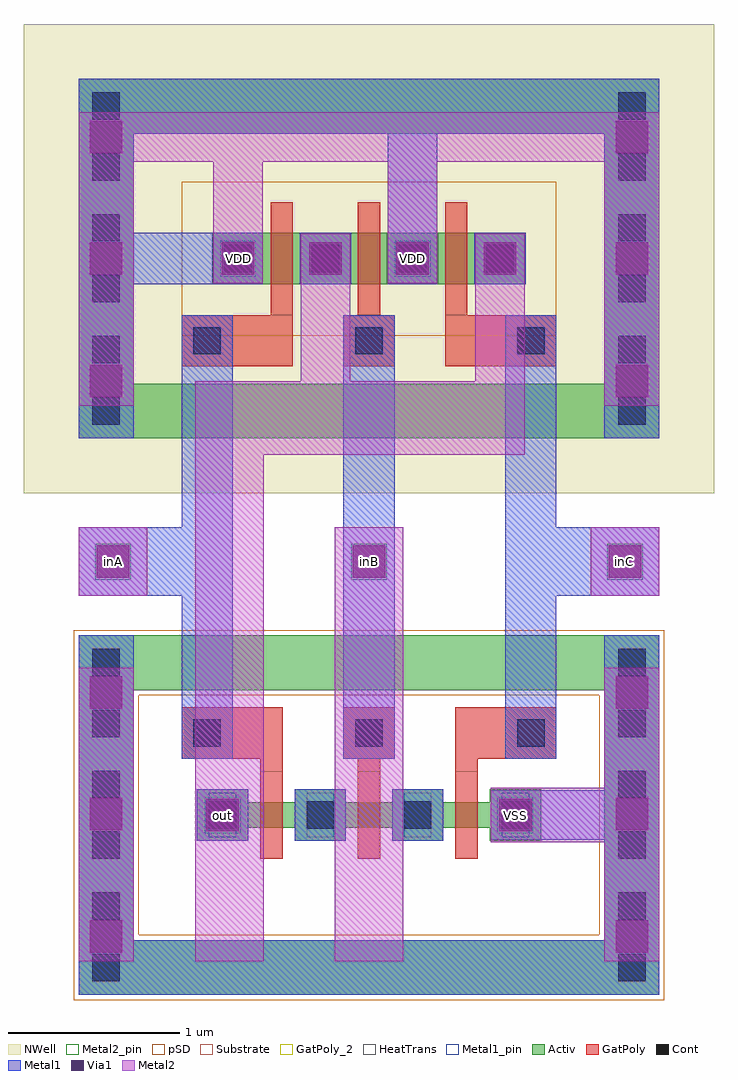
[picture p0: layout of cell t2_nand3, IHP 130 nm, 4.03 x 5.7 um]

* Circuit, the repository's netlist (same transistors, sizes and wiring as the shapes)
** sch_path: /foss/designs/PROJECTS/cmos-pll-ihp-sg13g2/Team 2 Design/design_data/xschem/t2_nand3.sch
.subckt t2_nand3 VDD VSS inA inB inC out
*.PININFO VSS:B inA:I inC:I out:O VDD:B inB:I
M1 out inB VDD VDD sg13_lv_pmos w=0.3u l=0.13u ng=1 m=1
M2 out inC VDD VDD sg13_lv_pmos w=0.3u l=0.13u ng=1 m=1
M3 out inC net1 VSS sg13_lv_nmos w=0.15u l=0.13u ng=1 m=1
M4 net1 inB net2 VSS sg13_lv_nmos w=0.15u l=0.13u ng=1 m=1
M5 net2 inA VSS VSS sg13_lv_nmos w=0.15u l=0.13u ng=1 m=1
M0 out inA VDD VDD sg13_lv_pmos w=0.3u l=0.13u ng=1 m=1
.ends

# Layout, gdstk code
import gdstk
lib = gdstk.Library(unit=1e-6, precision=1e-09)
def R(c, l, rs):  # rectangles x0, y0, x1, y1
    for r in rs: c.add(gdstk.rectangle(r[:2], r[2:], *l))
def A(c, l, x, y, w, h, nx, ny, dx, dy):  # array of equal rectangles
    R(c, l, [(x+i*dx, y+j*dy, x+i*dx+w, y+j*dy+h) for i in range(nx) for j in range(ny)])
Activ = (1, 0)
GatPoly = (5, 0)
GatPoly_2 = (5, 2)
Cont = (6, 0)
Metal1 = (8, 0)
Metal1_pin = (8, 2)
Metal2 = (10, 0)
Metal2_pin = (10, 2)
pSD = (14, 0)
Via1 = (19, 0)
NWell = (31, 0)
Substrate = (40, 0)
HeatTrans = (51, 0)

pmos_1 = lib.new_cell('pmos$1')
R(pmos_1, Activ, [(0,0,0.3,0.3), (0,0,0.81,0.3), (0.51,0,0.81,0.3)])
R(pmos_1, GatPoly, [(0.34,-0.18,0.47,0.48), (0.34,-0.18,0.47,0.48)])
R(pmos_1, Cont, [(0.07,0.07,0.23,0.23), (0.58,0.07,0.74,0.23)])
R(pmos_1, Metal1, [(0.07,0,0.23,0.3), (0.07,0,0.23,0.3), (0.58,0,0.74,0.3), (0.58,0,0.74,0.3)])
R(pmos_1, pSD, [(-0.18,-0.3,0.99,0.6)])
R(pmos_1, NWell, [(-0.31,-0.31,1.12,0.61)])
R(pmos_1, Substrate, [(0.51,0,0.81,0.3)])
R(pmos_1, HeatTrans, [(0.34,-0.18,0.47,0.48)])
pmos_1.add(gdstk.Label('pmos', (0.405,0.15), layer=63, texttype=0))
pmos_1.add(gdstk.Label('pmos', (0.405,0.15), layer=51, texttype=0))

nmos = lib.new_cell('nmos')
R(nmos, Activ, [(0,0,0.3,0.3), (0.57,0,0.87,0.3), (0,0.075,0.87,0.225)])
R(nmos, GatPoly, [(0.37,-0.105,0.5,0.405)])
R(nmos, GatPoly_2, [(0.37,-0.105,0.5,0.405)])
R(nmos, Cont, [(0.07,0.07,0.23,0.23), (0.64,0.07,0.8,0.23)])
R(nmos, Metal1, [(0.07,0.02,0.23,0.28), (0.64,0.02,0.8,0.28)])
R(nmos, Metal1_pin, [(0.07,0.02,0.23,0.28), (0.64,0.02,0.8,0.28)])
R(nmos, HeatTrans, [(0.37,-0.105,0.5,0.405)])
nmos.add(gdstk.Label('nmos', (0.435,0.15), layer=63, texttype=0))
nmos.add(gdstk.Label('nmos', (0.435,0.15), layer=51, texttype=0))

t2_nand3 = lib.new_cell('t2_nand3')
R(t2_nand3, Activ, [(-6.73,-2.335,-6.41,-0.555), (-6.41,-2.335,-3.34,-2.015), (-3.66,-2.015,-3.34,-0.235), (-6.73,-0.555,-3.66,-0.235), (-6.73,0.915,-3.66,1.235), (-3.66,0.915,-3.34,2.695), (-6.73,1.235,-6.41,3.015), (-6.41,2.695,-3.34,3.015)])
A(t2_nand3, GatPoly, -5.67, -1.03, 0.13, 0.075, 3, 1, 0.57, 0)
R(t2_nand3, GatPoly, [(-6.13,-0.955,-5.54,-0.655), (-5.185,-0.955,-4.885,-0.655), (-4.53,-0.955,-3.94,-0.655), (-6.13,1.335,-5.48,1.635), (-5.185,1.335,-4.885,1.635), (-4.59,1.335,-3.94,1.635)])
A(t2_nand3, Cont, -6.65, -1.895, 0.16, 0.16, 1, 5, 0, 0.355)
A(t2_nand3, Cont, -3.58, -1.895, 0.16, 0.16, 1, 5, 0, 0.355)
A(t2_nand3, Cont, -6.06, -0.885, 0.16, 0.16, 3, 2, 0.945, 2.29)
A(t2_nand3, Cont, -6.65, 1.355, 0.16, 0.16, 1, 5, 0, 0.355)
A(t2_nand3, Cont, -3.58, 1.355, 0.16, 0.16, 1, 5, 0, 0.355)
R(t2_nand3, Cont, [(-6.65,-2.255,-6.49,-2.095), (-3.58,-2.255,-3.42,-2.095), (-6.65,0.995,-6.49,1.155), (-3.58,0.995,-3.42,1.155)])
A(t2_nand3, Metal1, -6.04, -1.435, 0.3, 0.3, 3, 1, 0.57, 0)
A(t2_nand3, Metal1, -6.13, -0.955, 0.3, 2.59, 3, 1, 0.945, 0)
R(t2_nand3, Metal1, [(-6.73,-2.335,-6.41,-0.235), (-6.41,-2.335,-3.66,-2.015), (-3.66,-2.335,-3.34,-0.235), (-4.325,-1.43,-3.66,-1.14), (-6.73,-0.005,-6.13,0.395), (-3.94,-0.005,-3.34,0.395), (-6.73,0.915,-6.41,3.015), (-3.66,0.915,-3.34,3.015), (-6.41,1.815,-5.655,2.115), (-5.44,1.815,-5.14,2.115), (-4.925,1.815,-4.635,2.695), (-4.42,1.815,-4.12,2.115), (-6.41,2.695,-3.66,3.015)])
R(t2_nand3, Metal2, [(-6.73,-2.14,-6.41,-0.425), (-6.05,-2.14,-5.65,0.82), (-5.235,-2.14,-4.835,0.395), (-3.66,-2.14,-3.34,-0.425), (-4.325,-1.445,-3.66,-1.125), (-6.73,-0.005,-6.33,0.395), (-3.74,-0.005,-3.34,0.395), (-6.05,0.82,-4.125,1.25), (-6.73,1.105,-6.41,2.82), (-3.66,1.105,-3.34,2.82), (-5.435,1.25,-5.145,2.11), (-4.415,1.25,-4.125,2.11), (-5.945,1.82,-5.655,2.53), (-4.925,1.82,-4.635,2.53), (-6.41,2.53,-3.66,2.82)])
A(t2_nand3, Metal2_pin, -6.635, 0.09, 0.21, 0.21, 3, 1, 1.495, 0)
R(t2_nand3, Metal2_pin, [(-5.995,-1.39,-5.785,-1.18), (-4.285,-1.39,-4.075,-1.18), (-5.905,1.86,-5.695,2.07), (-4.885,1.86,-4.675,2.07)])
R(t2_nand3, pSD, [(-6.76,-2.365,-6.38,-0.585), (-6.38,-2.365,-3.31,-1.985), (-3.69,-1.985,-3.31,-0.205), (-6.76,-0.585,-3.69,-0.205)])
A(t2_nand3, Via1, -6.625, 0.1, 0.19, 0.19, 3, 1, 1.495, 0)
A(t2_nand3, Via1, -5.895, 1.87, 0.19, 0.19, 4, 1, 0.51, 0)
R(t2_nand3, Via1, [(-6.665,-2.09,-6.475,-1.9), (-3.595,-2.09,-3.405,-1.9), (-5.985,-1.38,-5.795,-1.19), (-4.275,-1.38,-4.085,-1.19), (-6.665,-1.375,-6.475,-1.185), (-3.595,-1.375,-3.405,-1.185), (-6.665,-0.665,-6.475,-0.475), (-3.595,-0.665,-3.405,-0.475), (-6.665,1.155,-6.475,1.345), (-3.595,1.155,-3.405,1.345), (-6.665,1.87,-6.475,2.06), (-3.595,1.87,-3.405,2.06), (-6.665,2.58,-6.475,2.77), (-3.595,2.58,-3.405,2.77)])
R(t2_nand3, NWell, [(-7.05,0.595,-3.02,3.335)])
t2_nand3.add(gdstk.Reference(pmos_1, (-5.95,1.815)))
t2_nand3.add(gdstk.Reference(pmos_1, (-5.44,1.815)))
t2_nand3.add(gdstk.Reference(pmos_1, (-4.93,1.815)))
t2_nand3.add(gdstk.Reference(nmos, (-4.9,-1.435)))
t2_nand3.add(gdstk.Reference(nmos, (-6.04,-1.435)))
t2_nand3.add(gdstk.Reference(nmos, (-5.47,-1.435)))
t2_nand3.add(gdstk.Label('VDD', (-5.8,1.965), layer=10, texttype=2))
t2_nand3.add(gdstk.Label('VDD', (-4.78,1.965), layer=10, texttype=2))
t2_nand3.add(gdstk.Label('inA', (-6.53,0.195), layer=10, texttype=2))
t2_nand3.add(gdstk.Label('out', (-5.89,-1.285), layer=10, texttype=2))
t2_nand3.add(gdstk.Label('VSS', (-4.18,-1.285), layer=10, texttype=2))
t2_nand3.add(gdstk.Label('inB', (-5.035,0.195), layer=10, texttype=2))
t2_nand3.add(gdstk.Label('inC', (-3.54,0.195), layer=10, texttype=2))

lib.write_gds('t2_nand3.gds')
